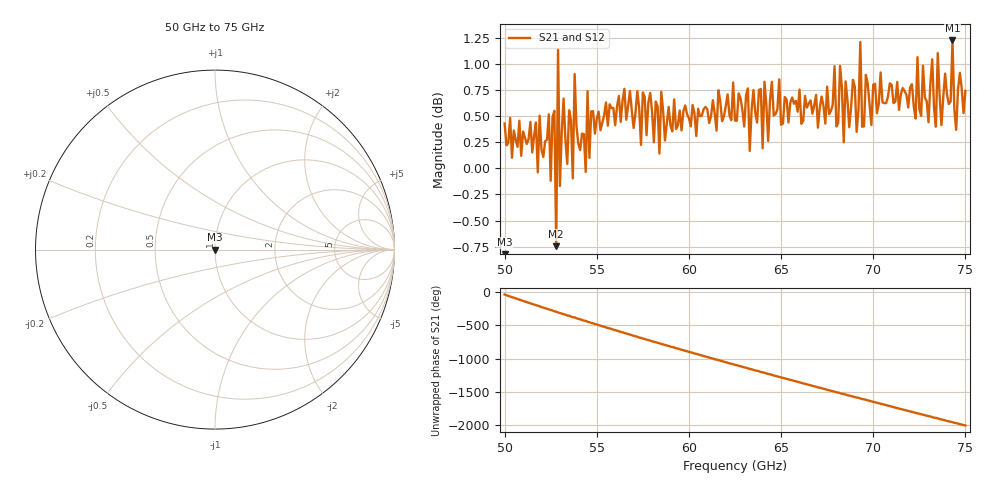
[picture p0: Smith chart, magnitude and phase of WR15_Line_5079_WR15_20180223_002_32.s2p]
# GHZ S RI R 50
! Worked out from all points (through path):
!   251 points, 50 GHz to 75 GHz, reference 50 ohm
!   highest |S21| = 1.23 dB at 74.3 GHz (marker M1); lowest = -0.7 dB at 52.8 GHz (marker M2)
!   lowest |S11| = - dB at 50 GHz (marker M3), VSWR 1.00, Z = 50 - j2.15e-15 ohm
!   |S11| at or under -10 dB: start of sweep to end of sweep
!   |S22| runs from - to - dB; largest |S21 - S12| = 1.4e-15
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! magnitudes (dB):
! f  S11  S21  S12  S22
! 50 GHz  -  0.4  0.4  -
! 52.4 GHz  -  0.5  0.5  -
! 52.5 GHz  -  -0.1  -0.1  -
! 52.7 GHz  -  0.6  0.6  -
! 52.8 GHz  -  -0.7  -0.7  -
! 52.9 GHz  -  1.1  1.1  -
! 53 GHz  -  -0.2  -0.2  -
! 53.2 GHz  -  0.7  0.7  -
! 53.7 GHz  -  -0.1  -0.1  -
! 53.8 GHz  -  0.9  0.9  -
! 54.2 GHz  -  0.3  0.3  -
! 58.4 GHz  -  0.1  0.1  -
! 62.5 GHz  -  0.5  0.5  -
! 66.7 GHz  -  0.5  0.5  -
! 70.9 GHz  -  0.8  0.8  -
! 73.2 GHz  -  1.0  1.0  -
! 73.4 GHz  -  0.4  0.4  -
! 73.5 GHz  -  1.1  1.1  -
! 73.7 GHz  -  0.4  0.4  -
! 74.3 GHz  -  1.2  1.2  -
! 74.5 GHz  -  0.4  0.4  -
! 75 GHz  -  0.7  0.7  -
